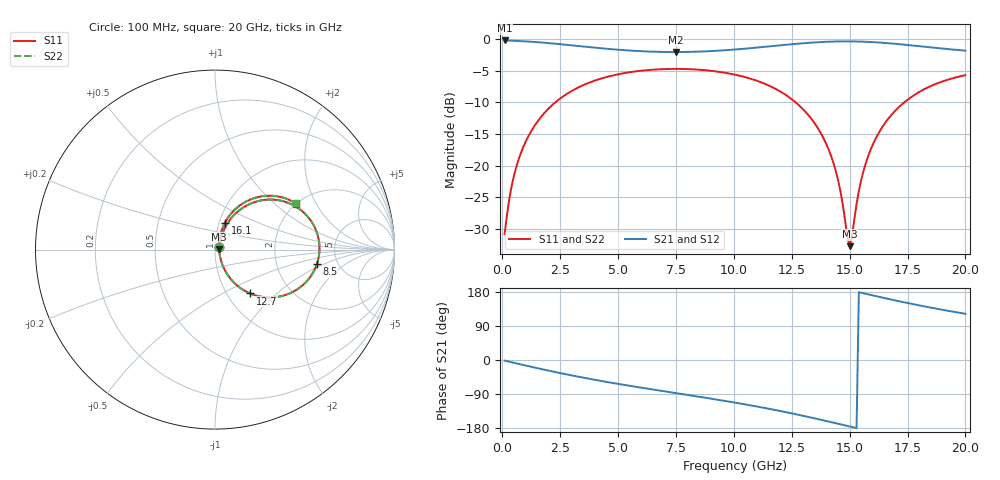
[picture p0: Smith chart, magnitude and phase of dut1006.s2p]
! Touchstone file exported from HFSS 2026.1.0
!  File:  C:/ffzhzh/LocalFiles/Ansys_Project_Files/temp_train_TSV_RDL_1006_1783290881_39728.aedt
!  Generated:  06:46:12 AM Jul  6, 2026
!  Design:  TSV_RDL
!  Project:  temp_train_TSV_RDL_1006_1783290881_39728
! Variables:
!  h_bsmrdl = 2.54um
!  h_ox = 20um
!  h_rdl = 5um
!  h_sub = 64.52um
!  h_tmrdl = 2.34um
!  h_tsv = 64.52um
!  h_via = 3um
!  l_bsmrdl = 514.49um
!  l_sub = 4049.05um
!  l_tmrdl = 491.25um
!  m_sub = 200um
!  pitch = 56.2um
!  r_tsv = 8.56um
!  s_tmrdl = 10um
!  w_bsmrdl = 26.02um
!  w_sub = 500um
!  w_tmrdl = 20.84um
!  x_tsv_center1 = 501.67um
!  x_tsv_center2 = 1042.18um
!  x_tsv_center3 = 1554.27um
!  x_tsv_center4 = 2094.78um
!  x_tsv_center5 = 2606.87um
!  x_tsv_center6 = 3147.38um
# GHz S MA R 50.000000
! Terminal data exported
! Port[1] = TM_RDL1_1_T1
! Port[2] = TM_RDL5_1_T1
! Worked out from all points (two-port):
!   200 points, 100 MHz to 20 GHz, reference 50 ohm
!   highest |S21| = -0.21 dB at 100 MHz (marker M1); lowest = -2.0 dB at 7.5 GHz (marker M2)
!   |S21| within 3 dB of the highest: start of sweep to end of sweep
!   lowest |S11| = -32.7 dB at 15 GHz (marker M3), VSWR 1.05, Z = 52.4 + j0.129 ohm
!   |S11| at or under -10 dB: start of sweep to 2.285 GHz; 12.67 GHz to 17.36 GHz (4.681 GHz wide, 31.2 % of centre)
!   |S22| runs from -32.9 to -4.7 dB; largest |S21 - S12| = 4.4e-14
!   S11 on the Smith chart (normalised r, x): 100 MHz: 1.05, +0.03; 8.5 GHz: 3.48, -0.82; 12.7 GHz: 1.28, -0.69; 16.1 GHz: 1.07, +0.33; 20 GHz: 1.99, +1.40
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0.1  0.02879 33.3  0.9762 -1.5  0.9762 -1.5  0.02879 33.3
! Gamma 0 0 0 0
! Port Impedance 50 0 50 0
0.3  0.05433 58.1  0.9738 -4.5  0.9738 -4.5  0.05433 58.1
0.5  0.08293 64.0  0.9705 -7.4  0.9705 -7.4  0.08293 64.0
1.1  0.1674 64.3  0.9576 -15.9  0.9576 -15.9  0.1674 64.3
2.1  0.295 55.0  0.9269 -29.4  0.9269 -29.4  0.295 55.0
3.5  0.4335 39.9  0.8742 -46.6  0.8742 -46.6  0.4335 39.9
5.2  0.5363 22.6  0.8197 -65.1  0.8197 -65.1  0.5363 22.6
6.8  0.5782 7.6  0.7933 -80.7  0.7933 -80.7  0.5782 7.6
7.5  0.5823 1.2  0.7908 -87.4  0.7908 -87.4  0.5823 1.2
8.5  0.5736 -8.0  0.797 -96.9  0.797 -96.9  0.5736 -8.0
10.1  0.5217 -23.3  0.8294 -113.0  0.8294 -113.0  0.5217 -23.3
12.7  0.3134 -51.3  0.9184 -143.4  0.9184 -143.4  0.3134 -51.4
13.4  0.2282 -58.8  0.9397 -152.8  0.9397 -152.8  0.2282 -58.9
14  0.1474 -63.8  0.9528 -161.1  0.9528 -161.1  0.1474 -63.9
14.4  0.0913 -63.7  0.9581 -166.8  0.9581 -166.8  0.09121 -63.9
14.6  0.06347 -59.7  0.9596 -169.6  0.9596 -169.6  0.06332 -60.1
15  0.02319 3.0  0.96 -175.4  0.96 -175.4  0.02271 3.0
15.5  0.07696 68.7  0.9559 177.5  0.9559 177.5  0.0768 69.0
16.1  0.1603 69.7  0.9445 169.0  0.9445 169.0  0.1602 69.8
16.7  0.239 64.4  0.9276 160.8  0.9276 160.8  0.239 64.5
18.1  0.3911 49.2  0.8762 143.0  0.8762 143.0  0.3911 49.3
20  0.5196 29.6  0.8113 121.9  0.8113 121.9  0.5196 29.7
